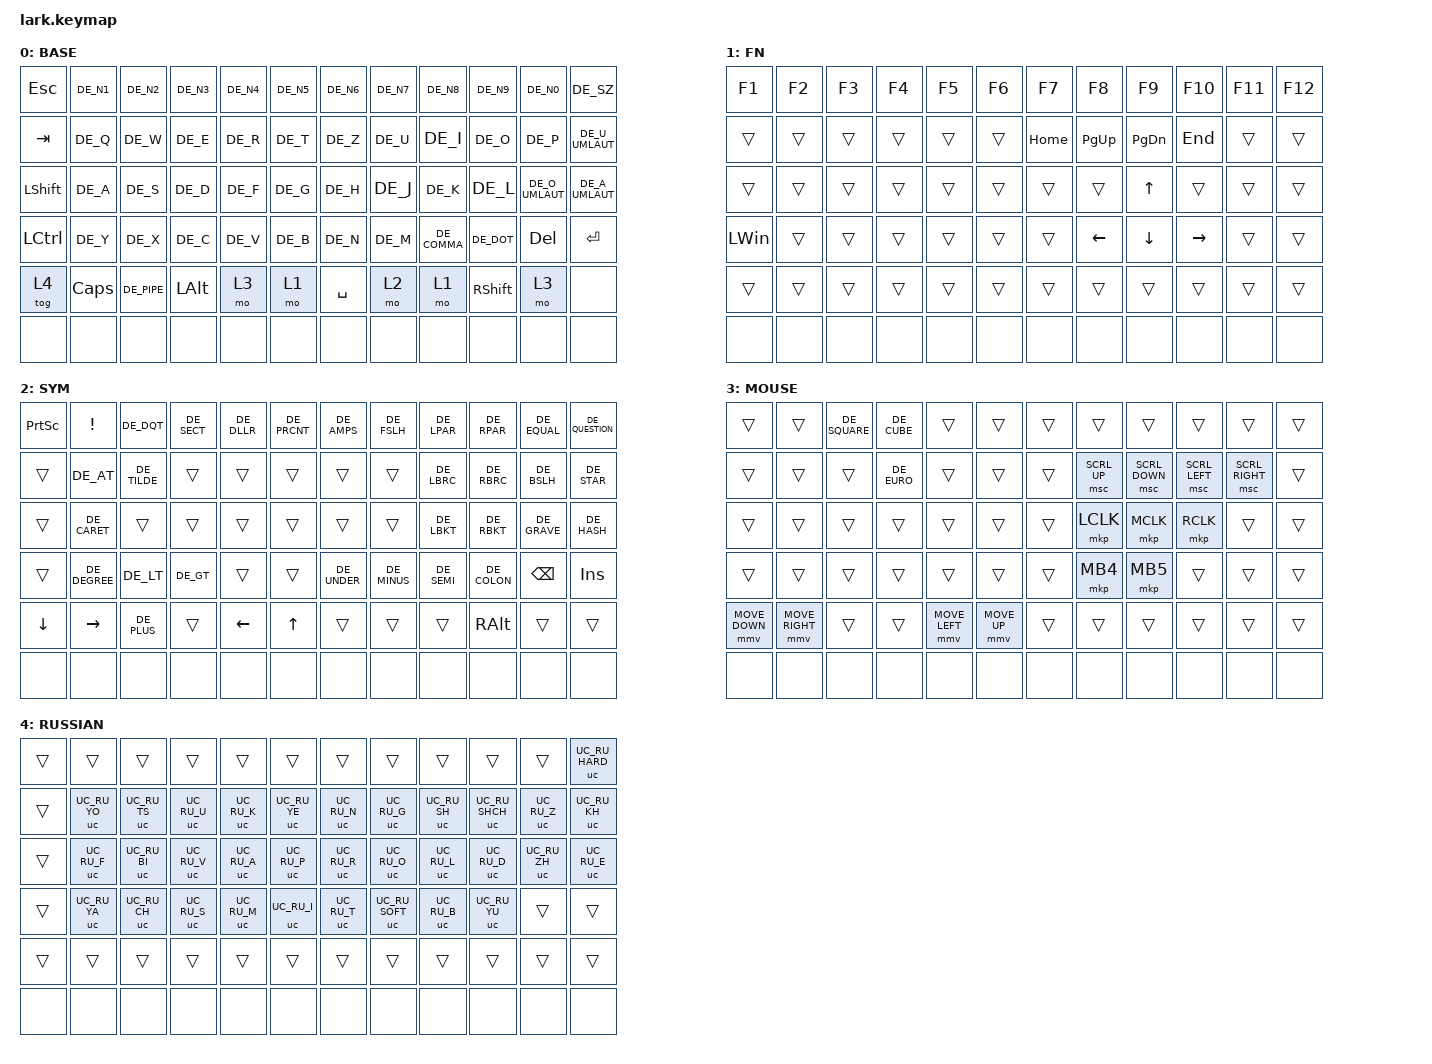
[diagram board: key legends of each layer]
#include <behaviors/unicode.dtsi>
#include <behaviors.dtsi>
#include <dt-bindings/zmk/bt.h>
#include <dt-bindings/zmk/keys.h>
#include "keys_de.h"
#include <dt-bindings/zmk/outputs.h>

#define ZMK_POINTING_DEFAULT_MOVE_VAL 600  // default: 600
#define ZMK_POINTING_DEFAULT_SCRL_VAL 20    // default: 10     if CONFIG_ZMK_POINTING_SMOOTH_SCROLLING=y default 300

#include <dt-bindings/zmk/pointing.h>

// Desktop and tab navigation shortcuts

#define DESKTOP_LT   LC(LG(LEFT))
#define DESKTOP_RT   LC(LG(RIGHT))
#define WINDOW_LT    LA(LS(TAB))
#define WINDOW_RT    LA(TAB)
#define TAB_LT       LC(LS(TAB))
#define TAB_RT       LC(TAB)

// NOT USED  &kp LG(LC(LEFT))  &kp LG(LC(RIGHT))
// Generic bindings

#define KILL_WINDOW  LA(F4)
#define MAXIMIZE     LG(UP)
#define MINIMIZE     LG(DOWN)
#define UN_MINIMIZE  LG(LC(N))

// Short versions
#define BT0         BT_SEL 0
#define BT1         BT_SEL 1
#define BT2         BT_SEL 2
#define BT3         BT_SEL 3
#define BT4         BT_SEL 4
#define PAUSE       PAUSE_BREAK
#define VU          C_VOL_UP
#define VD          C_VOL_DN

// MOUSE SCROLL SETTINGS
// https://zmk.dev/docs/keymaps/behaviors/mouse-emulation#mouse-scroll


&mt {
    flavor = "tap-preferred";
    tapping-term-ms = <300>;
};

&lt {
    flavor = "balanced";
    tapping-term-ms = <150>;
};


/ {

    conditional_layers {
        compatible = "zmk,conditional-layers";
    };

    keymap {
            compatible = "zmk,keymap";

        base_layer {
            label = "BASE";
            bindings = <
&kp ESC         &kp DE_N1       &kp DE_N2       &kp DE_N3       &kp DE_N4       &kp DE_N5               &kp DE_N6       &kp DE_N7       &kp DE_N8       &kp DE_N9       &kp DE_N0       &kp DE_SZ
&kp TAB         &kp DE_Q        &kp DE_W        &kp DE_E        &kp DE_R        &kp DE_T                &kp DE_Z        &kp DE_U        &kp DE_I        &kp DE_O        &kp DE_P        &kp DE_U_UMLAUT
&kp LSHIFT      &kp DE_A        &kp DE_S        &kp DE_D        &kp DE_F        &kp DE_G                &kp DE_H        &kp DE_J        &kp DE_K        &kp DE_L        &kp DE_O_UMLAUT &kp DE_A_UMLAUT
&kp LCTRL       &kp DE_Y        &kp DE_X        &kp DE_C        &kp DE_V        &kp DE_B                &kp DE_N        &kp DE_M        &kp DE_COMMA    &kp DE_DOT      &kp DEL         &kp ENTER
&tog 4          &kp CAPS        &kp DE_PIPE     &kp LALT        &mo 3           &mo 1                   &kp SPACE       &mo 2           &mo 1           &kp RSHIFT      &mo 3           &none
&none           &none           &none           &none           &none           &none                   &none           &none           &none           &none           &none           &none
            >;
        };

        fn_layer {
            label = "FN";
            bindings = <
&kp F1          &kp F2          &kp F3          &kp F4          &kp F5          &kp F6                  &kp F7          &kp F8          &kp F9          &kp F10         &kp F11         &kp F12
&trans          &trans          &trans          &trans          &trans          &trans                  &kp HOME        &kp PG_UP       &kp PG_DN       &kp END         &trans          &trans
&trans          &trans          &trans          &trans          &trans          &trans                  &trans          &trans          &kp UP          &trans          &trans          &trans
&kp LWIN        &trans          &trans          &trans          &trans          &trans                  &trans          &kp LEFT        &kp DOWN        &kp RIGHT       &trans          &trans
&trans          &trans          &trans          &trans          &trans          &trans                  &trans          &trans          &trans          &trans          &trans          &trans
&none           &none           &none           &none           &none           &none                   &none           &none           &none           &none           &none           &none
            >;
        };

        sym_layer {
            label = "SYM";
            bindings = <
&kp PSCRN          &kp EXCL        &kp DE_DQT      &kp DE_SECT     &kp DE_DLLR     &kp DE_PRCNT            &kp DE_AMPS     &kp DE_FSLH     &kp DE_LPAR     &kp DE_RPAR     &kp DE_EQUAL    &kp DE_QUESTION
&trans          &kp DE_AT       &kp DE_TILDE    &trans          &trans          &trans                  &trans          &trans          &kp DE_LBRC     &kp DE_RBRC     &kp DE_BSLH     &kp DE_STAR
&trans          &kp DE_CARET    &trans          &trans          &trans          &trans                  &trans          &trans          &kp DE_LBKT     &kp DE_RBKT     &kp DE_GRAVE    &kp DE_HASH
&trans          &kp DE_DEGREE   &kp DE_LT       &kp DE_GT       &trans          &trans                  &kp DE_UNDER    &kp DE_MINUS    &kp DE_SEMI     &kp DE_COLON    &kp BSPC        &kp INS
&kp DOWN        &kp RIGHT       &kp DE_PLUS     &trans          &kp LEFT        &kp UP                  &trans          &trans          &trans          &kp RALT        &trans          &trans
&none           &none           &none           &none           &none           &none                   &none           &none           &none           &none           &none           &none
            >;
        };

        mouse_layer {
            label = "MOUSE";
            bindings = <
&trans          &trans          &kp DE_SQUARE   &kp DE_CUBE     &trans          &trans                  &trans          &trans          &trans          &trans          &trans          &trans
&trans          &trans          &trans          &kp DE_EURO     &trans          &trans                  &trans          &msc SCRL_UP    &msc SCRL_DOWN  &msc SCRL_LEFT  &msc SCRL_RIGHT &trans
&trans          &trans          &trans          &trans          &trans          &trans                  &trans          &mkp LCLK       &mkp MCLK       &mkp RCLK       &trans          &trans
&trans          &trans          &trans          &trans          &trans          &trans                  &trans          &mkp MB4        &mkp MB5        &trans          &trans          &trans
&mmv MOVE_DOWN  &mmv MOVE_RIGHT &trans          &trans          &mmv MOVE_LEFT  &mmv MOVE_UP            &trans          &trans          &trans          &trans          &trans          &trans
&none           &none           &none           &none           &none           &none                   &none           &none           &none           &none           &none           &none
            >;
        };

        russian_layer {
            label = "RUSSIAN";
            bindings = <
&trans          &trans          &trans          &trans          &trans          &trans                  &trans          &trans          &trans          &trans          &trans          &uc UC_RU_HARD
&trans          &uc UC_RU_YO    &uc UC_RU_TS    &uc UC_RU_U     &uc UC_RU_K     &uc UC_RU_YE            &uc UC_RU_N     &uc UC_RU_G     &uc UC_RU_SH    &uc UC_RU_SHCH  &uc UC_RU_Z     &uc UC_RU_KH
&trans          &uc UC_RU_F     &uc UC_RU_BI    &uc UC_RU_V     &uc UC_RU_A     &uc UC_RU_P             &uc UC_RU_R     &uc UC_RU_O     &uc UC_RU_L     &uc UC_RU_D     &uc UC_RU_ZH    &uc UC_RU_E
&trans          &uc UC_RU_YA    &uc UC_RU_CH    &uc UC_RU_S     &uc UC_RU_M     &uc UC_RU_I             &uc UC_RU_T     &uc UC_RU_SOFT  &uc UC_RU_B     &uc UC_RU_YU    &trans          &trans
&trans          &trans          &trans          &trans          &trans          &trans                  &trans          &trans          &trans          &trans          &trans          &trans
&none           &none           &none           &none           &none           &none                   &none           &none           &none           &none           &none           &none
            >;
        };
    };
};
